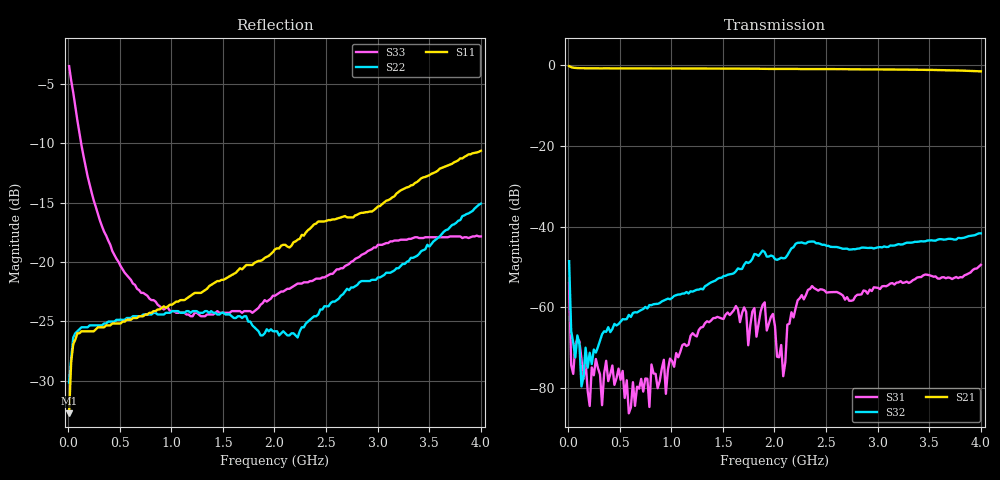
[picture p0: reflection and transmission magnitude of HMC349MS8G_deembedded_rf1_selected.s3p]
!Hittite Microwave Corporation
!12 Elizabeth Drive
!Chelmsford, MA 01824
!Tel: 978-250-3343
!Fax: 978-250-3373
!Device: HMC349MS8G, DC-4 GHz, High Isolation SPDT Non-Reflective Switch in 8-lead plastic SMT package with exposed ground paddle
!Misc: Vdd=5V, Port1=RFC, Port2=RF1, Port3=RF2, RF1 selected, Room
# MHZ S MA R 50
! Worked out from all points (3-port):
!   201 points, 10 MHz to 4 GHz, reference 50 ohm
!   strongest paths, dB at 10 MHz, 1.008 GHz, 2.005 GHz, 3.002 GHz, 4 GHz:
!     S21: -0.2, -0.8, -0.9, -1.0, -1.5
!     S32: -48.6, -57.7, -48.1, -45.2, -41.7
!     S31: -54.1, -73.3, -64.7, -55.2, -49.5
!   lowest |S11| = -32.8 dB at 10 MHz (marker M1), VSWR 1.05, Z = 49.3 + j2.19 ohm
!   |S11| at or under -10 dB: start of sweep to end of sweep
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10  0.023 105.3  0.963 -1.7  0.0003374 35.9
    0.975 -0.3  0.031 97.2  0.0003274 27.4
    0.001983 67.5  0.003723 94.2  0.668 -15.6
29.95  0.038 61.3  0.944 -2.6  0.0005325 -46.2
       0.948 -2.0  0.039 50.7  0.0004524 -36.3
       0.0001918 -3.0  0.0005064 -2.8  0.581 -25.2
129.7  0.051 11.2  0.916 -3.9  0.0002128 -39.0
       0.92 -3.8  0.053 12.6  6.541e-05 -65.1
       0.0002269 -76.0  0.0001041 -16.6  0.31 -52.1
947.65  0.064 -53.5  0.91 -22.3  0.000114 80.6
        0.914 -22.2  0.061 -27.1  0.001182 111.8
        8.437e-05 111.1  0.001242 111.6  0.064 -22.1
1346.65  0.077 -73.9  0.909 -31.7  0.0006799 100.5
         0.911 -31.6  0.062 -44.6  0.00189 130.4
         0.0006693 106.7  0.001882 130.5  0.06 -2.8
2005  0.113 -95.8  0.896 -47.3  0.0006642 -67.8
      0.9 -47.2  0.051 -88.8  0.003984 123.4
      0.0005788 -68.0  0.003947 124.0  0.072 26.7
2084.8  0.118 -98.1  0.897 -49.2  0.0001369 -45.0
        0.901 -49.0  0.051 -97.9  0.004075 131.9
        0.0001395 -55.4  0.004038 130.7  0.075 28.8
2164.6  0.117 -97.8  0.898 -51.2  0.0009463 19.5
        0.902 -51.1  0.05 -102.2  0.005335 140.4
        0.0008653 22.8  0.005373 139.2  0.078 30.1
2364.1  0.141 -51.4  0.893 -55.8  0.001706 -100.5
        0.897 -55.8  0.058 -171.9  0.006572 66.4
        0.001829 -98.6  0.006533 66.3  0.083 -17.1
4000  0.294 -105.0  0.838 -97.5  0.003421 156.8
      0.841 -97.5  0.176 128.8  0.008238 79.8
      0.003358 157.8  0.008239 79.7  0.128 13.7
